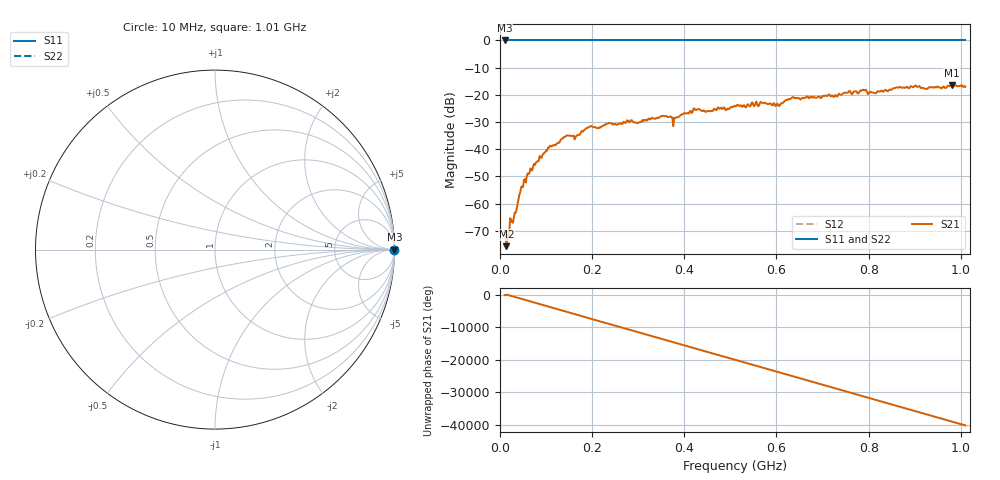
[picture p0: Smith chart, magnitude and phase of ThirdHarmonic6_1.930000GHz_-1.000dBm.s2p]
! 8/16/2025 11:15:53 PM
! C:\ANRITSUVNA\TEMP\TEMP.S2P
! CHANNEL.1
! TR.MEASUREMENT
! RAW.DATA
! RF.CORRECTION.OFF
! AVERAGING.OFF
! IF.BANDWIDTH: 5KHZ
! SWEEPTYPE:  FREQ.SWEEP(Linear)
! Reference Plane Port Info
! PORT:  PORT1  PORT2
! DISTANCE:  0  m  0  m
! TIME:  0  s  0  s
! PHASE.OFFSET:  0  deg.  0  deg.
! LOSS:  0  dB  0  dB
! REF.LOSS:  0  dB  0  dB
! REF.FREQ:  0  Hz  0  Hz
! Power Info
! POWER:  -20  dBm  -20  dBm
! EFF.POWER:  -20  dBm  -20  dBm
! SOURCE.ATTEN:  0  dB  0  dB
! TEST.ATTEN:  0  dB  0  dB
# GHZ S RI R 50.0
! FREQ.GHZ  S11RE  S11IM  S21RE  S21IM  S12RE  S12IM  S22RE  S22IM
!; PortSelection: Port_12
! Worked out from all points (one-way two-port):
!   501 points, 10 MHz to 1.01 GHz, reference 50 ohm
!   highest |S21| = -16.36 dB at 980 MHz (marker M1); lowest = -75.7 dB at 14 MHz (marker M2)
!   lowest |S11| = 0.0 dB at 10 MHz (marker M3)
!   |S11| at or under -10 dB: nowhere
!   |S22| runs from 0.0 to 0.0 dB; largest |S21 - S12| = 1.1
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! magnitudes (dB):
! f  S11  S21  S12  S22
! 10 MHz  0.0  -70.0  0.0  0.0
! 14 MHz  0.0  -75.7  0.0  0.0
! 16 MHz  0.0  -73.5  0.0  0.0
! 22 MHz  0.0  -65.3  0.0  0.0
! 32 MHz  0.0  -63.3  0.0  0.0
! 50 MHz  0.0  -53.9  0.0  0.0
! 70 MHz  0.0  -47.8  0.0  0.0
! 108 MHz  0.0  -38.8  0.0  0.0
! 142 MHz  0.0  -35.4  0.0  0.0
! 178 MHz  0.0  -33.3  0.0  0.0
! 196 MHz  0.0  -31.6  0.0  0.0
! 344 MHz  0.0  -28.5  0.0  0.0
! 380 MHz  0.0  -28.5  0.0  0.0
! 424 MHz  0.0  -25.5  0.0  0.0
! 450 MHz  0.0  -25.9  0.0  0.0
! 510 MHz  0.0  -24.2  0.0  0.0
! 602 MHz  0.0  -23.2  0.0  0.0
! 634 MHz  0.0  -21.0  0.0  0.0
! 678 MHz  0.0  -21.0  0.0  0.0
! 844 MHz  0.0  -18.3  0.0  0.0
! 980 MHz  0.0  -16.4  0.0  0.0
! 1.01 GHz  0.0  -17.0  0.0  0.0
